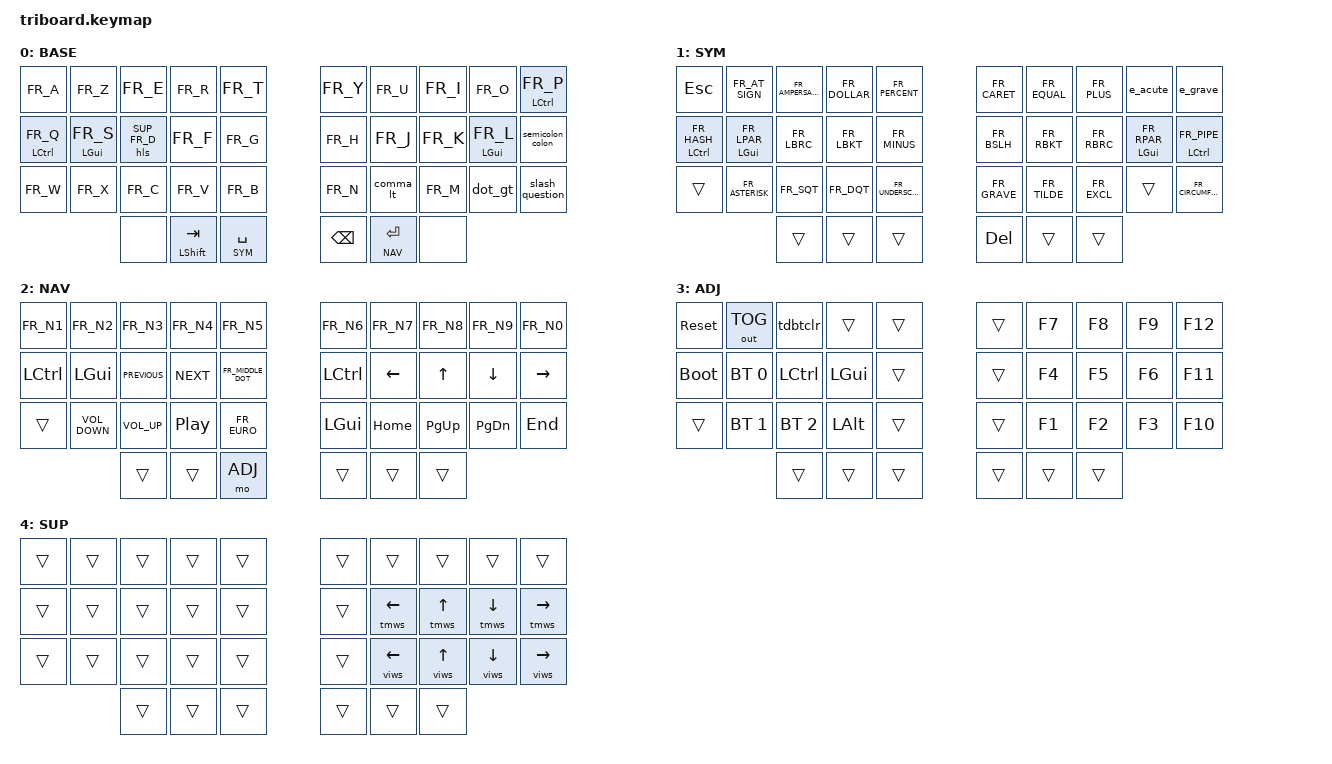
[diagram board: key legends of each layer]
// ⠀⠀⠀⠀⠀⠀⠀⠀⠀⣠⣷⡄⠀⠀⠀⠀⠀⠀⠀⠀
// ⠀⠀⠀⠀⠀⠀⠀⠀⣰⣿⣿⣿⡄⠀⠀⠀⠀⠀⠀⠀
// ⠀⠀⠀⠀⠀⠀⠀⣴⣿⣿⣿⣿⣿⣆⠀⠀⠀⠀⠀⠀
// ⠀⠀⠀⠀⠀⢀⣼⣿⣿⣿⣿⣿⣿⣿⣦⠀⠀⠀⠀⠀
// ⠀⠀⠀⠀⢀⣾⣿⣿⣿⣿⣿⣿⣿⣿⣿⣧⠀⠀⠀⠀
// ⠀⠀⠀⠀⠈⠉⠉⠉⠛⠻⢿⣿⣿⣿⣿⣿⣷⡀⠀⠀
// ⠀⠀⠀⠀⠀⠀⠀⠀⠀⠀⠀⠈⠛⢿⣿⣿⣿⣷⡄⠀
// ⠀⠀⠀⠀⢀⣀⠀⠀⠀⠀⠀⠀⠀⠀⠈⠻⢿⣿⣿⡄
// ⠀⢀⣴⣾⣿⣿⣿⣷⣦⣄⠀⠀⠀⠀⠀⠀⠀⠈⠉⠉
// ⣰⣿⣿⣿⣿⣿⣿⣿⣿⣿⣿⣦⣀⠀⠀⠀⠀⠀⠀⠀

#include <behaviors.dtsi>
#include <dt-bindings/zmk/keys.h>
#include <dt-bindings/zmk/bt.h>
#include <dt-bindings/zmk/outputs.h>
#include "helper.h"
#include "keys_fr.h"

#define BASE 0
#define SYM 1
#define NAV 2
#define ADJ 3
#define SUP 4

/*
                        ┏┓ ┏━┓┏━┓╻┏━╸   ┏━╸┏━┓┏┓╻┏━╸╻┏━╸
                        ┣┻┓┣━┫┗━┓┃┃     ┃  ┃ ┃┃┗┫┣╸ ┃┃╺┓
                        ┗━┛╹ ╹┗━┛╹┗━╸   ┗━╸┗━┛╹ ╹╹  ╹┗━┛
*/

&mt {
  quick-tap-ms = <100>;
  global-quick-tap;
  flavor = "hold-preferred";
  tapping-term-ms = <170>;
};

&lt {
  quick-tap-ms = <100>;
  global-quick-tap;
  flavor = "hold-preferred";
  tapping-term-ms = <170>;
};

/*
                 ┏━╸╻ ╻┏━┓╺┳╸┏━┓┏┳┓   ┏┓ ┏━╸╻ ╻┏━┓╻ ╻╻┏━┓┏━┓┏━┓
                 ┃  ┃ ┃┗━┓ ┃ ┃ ┃┃┃┃   ┣┻┓┣╸ ┣━┫┣━┫┃┏┛┃┃ ┃┣┳┛┗━┓
                 ┗━╸┗━┛┗━┛ ╹ ┗━┛╹ ╹   ┗━┛┗━╸╹ ╹╹ ╹┗┛ ╹┗━┛╹┗╸┗━┛
*/

/* 5 press key to prevent clearing bluetooth bond by accident */
ZMK_BEHAVIOR(tdbtclr, tap_dance,
    tapping-term-ms = <300>;
    bindings = <&none>, <&none>, <&none>, <&none>, <&bt BT_CLR>;
)

// Tmux window switching
ZMK_BEHAVIOR(tmws, macro_one_param,
    bindings =
        <&macro_press &kp LCTRL>,
        <&macro_tap &kp FR_A>,
        <&macro_release &kp LCTRL>,
        <&macro_param_1to1>, <&macro_tap &kp MACRO_PLACEHOLDER>;
)

// Vim window switching
ZMK_BEHAVIOR(viws, macro_one_param,
    bindings =
        <&macro_press &kp LCTRL>,
        <&macro_tap &kp FR_W>,
        <&macro_release &kp LCTRL>,
        <&macro_param_1to1>, <&macro_tap &kp MACRO_PLACEHOLDER>;
)

/*
                    ┏━╸┏━┓┏━╸┏┓╻┏━╸╻ ╻   ╻  ┏━┓╻ ╻┏━┓╻ ╻╺┳╸
                    ┣╸ ┣┳┛┣╸ ┃┗┫┃  ┣━┫   ┃  ┣━┫┗┳┛┃ ┃┃ ┃ ┃
                    ╹  ╹┗╸┗━╸╹ ╹┗━╸╹ ╹   ┗━╸╹ ╹ ╹ ┗━┛┗━┛ ╹
                                    Baguette
*/

// Keep the US keyboard's shift behaviors on the french virtual layout

ZMK_BEHAVIOR(comma_lt, mod_morph,
    mods = <(MOD_LSFT | MOD_RSFT)>;
    bindings = <&kp FR_COMMA>, <&kp FR_LT>;
)
ZMK_BEHAVIOR(dot_gt, mod_morph,
    mods = <(MOD_LSFT | MOD_RSFT)>;
    bindings = <&kp FR_DOT>, <&kp FR_GT>;
)
ZMK_BEHAVIOR(slash_question, mod_morph,
    mods = <(MOD_LSFT | MOD_RSFT)>;
    bindings = <&kp FR_FSLH>, <&kp FR_QUESTION>;
)
ZMK_BEHAVIOR(semicolon_colon, mod_morph,
    mods = <(MOD_LSFT | MOD_RSFT)>;
    bindings = <&kp FR_SEMI>, <&kp FR_COLON>;
)

// Allow capital french letters (ç, é, è, à, ù) to be typed with a single key
// press.
ZMK_BEHAVIOR(capitalized, macro_one_param,
    bindings =
        <&macro_tap &kp CAPSLOCK>, // Press down caps lock
        <&macro_param_1to1>, <&kp MACRO_PLACEHOLDER>, // Press the key
        <&macro_tap &kp CAPSLOCK>; // Release caps lock
)

#define CAPITALIZABLE(name, kc) ZMK_BEHAVIOR(name, tap_dance, \
    tapping-term-ms = <300>; \
    bindings = <&kp kc>, <&capitalized kc>; \
)

CAPITALIZABLE(c_cedilla, FR_C_CEDILLA)
CAPITALIZABLE(e_acute, FR_E_ACUTE)
CAPITALIZABLE(e_grave, FR_E_GRAVE)
CAPITALIZABLE(a_grave, FR_A_GRAVE)
CAPITALIZABLE(u_grave, FR_U_GRAVE)

/*
                      ╻ ╻┏━┓┏┳┓╻┏━┓   ┏┓     ╻ ╻┏┳┓╻  ╻┏━┓
                      ┣━┫┣┳┛┃┃┃ ┗━┓   ┃╺╋╸   ┣━┫┃┃┃┃   ┗━┓
                      ╹ ╹╹┗╸╹ ╹ ┗━┛   ┗━┛    ╹ ╹╹ ╹┗━╸ ┗━┛
                      Home-Row Modifiers & Home-Row Layers

                     Based on Urob's timeless home row mods:
            https://github.com/urob/zmk-config#timeless-homerow-mods
*/

#define KEYS_L 0 1 2 3 4 10 11 12 13 14 20 21 22 23 24
#define KEYS_R 5 6 7 8 9 15 16 17 18 19 25 26 27 28 29
#define KEYS_THUMBS 32 33 34 35 36 37


/* left-hand HRMs */
ZMK_BEHAVIOR(hml, hold_tap,
    flavor = "balanced";
    tapping-term-ms = <280>;
    quick-tap-ms = <175>; // repeat on tap-into-hold
    require-prior-idle-ms = <150>;
    bindings = <&kp>, <&kp>;
    hold-trigger-key-positions = <KEYS_R KEYS_THUMBS>;
    hold-trigger-on-release; // delay positional check until key-release
)

/* right-hand HRMs */
ZMK_BEHAVIOR(hmr, hold_tap,
    flavor = "balanced";
    tapping-term-ms = <280>;
    quick-tap-ms = <175>; // repeat on tap-into-hold
    require-prior-idle-ms = <150>;
    bindings = <&kp>, <&kp>;
    hold-trigger-key-positions = <KEYS_L KEYS_THUMBS>;
    hold-trigger-on-release; // delay positional check until key-release
)

/* left-hand HRLs */
ZMK_BEHAVIOR(hls, hold_tap,
    flavor = "balanced";
    tapping-term-ms = <280>;
    quick-tap-ms = <175>; // repeat on tap-into-hold
    require-prior-idle-ms = <150>;
    bindings = <&mo>, <&kp>;
    hold-trigger-key-positions = <KEYS_R KEYS_THUMBS>;
    hold-trigger-on-release; // delay positional check until key-release
)

/* right-hand HRLs */
ZMK_BEHAVIOR(hls, hold_tap,
    flavor = "balanced";
    tapping-term-ms = <280>;
    quick-tap-ms = <175>; // repeat on tap-into-hold
    require-prior-idle-ms = <150>;
    bindings = <&mo>, <&kp>;
    hold-trigger-key-positions = <KEYS_L KEYS_THUMBS>;
    hold-trigger-on-release; // delay positional check until key-release
)

/*
                               ╻┏ ┏━╸╻ ╻┏┳┓┏━┓┏━┓
                               ┣┻┓┣╸ ┗┳┛┃┃┃┣━┫┣━┛
                               ╹ ╹┗━╸ ╹ ╹ ╹╹ ╹╹
*/

/ {
    keymap {
        compatible = "zmk,keymap";
// ▄▄▄▄▄▄▄▄▄▄▄▄▄▄▄▄▄▄▄▄▄▄▄▄▄▄▄▄▄▄▄▄▄▄▄▄▄▄▄▄▄▄▄▄▄▄▄▄▄▄▄▄▄▄▄▄▄▄▄▄▄▄▄▄▄▄▄▄▄▄▄▄▄▄▄▄▄▄▄▄▄▄▄▄▄▄▄▄▄▄▄▄▄▄▄▄▄▄▄▄▄▄▄▄▄▄▄▄▄▄▄▄▄▄▄▄▄▄▄▄▄▄▄▄▄▄▄▄▄▄▄▄▄▄▄▄▄▄▄▄▄▄▄▄▄▄▄▄▄

        base_layer {
// ┏━━━━━━━━━━━━━━━━━━━━━━━━━━━━━━━━━━━━━━━┓
            label= "BASE";
// ┗━━━━━━━━━━━━━━━━━━━━━━━━━━━━━━━━━━━━━━━┛
// ┏━━━━━━━━━━━┳━━━━━━━━━━━┳━━━━━━━━━━━┳━━━━━━━━━━━┳━━━━━━━━━━━┓   ┏━━━━━━━━━━━┳━━━━━━━━━━━┳━━━━━━━━━━━┳━━━━━━━━━━━┳━━━━━━━━━━━┓
// ┃     Q     ┃     W     ┃     F     ┃     P     ┃     B     ┃   ┃     J     ┃     L     ┃     U     ┃     Y     ┃     ;     ┃
// ┣━━━━━━━━━━━╋━━━━━━━━━━━╋━━━━━━━━━━━╋━━━━━━━━━━━╋━━━━━━━━━━━┫   ┣━━━━━━━━━━━╋━━━━━━━━━━━╋━━━━━━━━━━━╋━━━━━━━━━━━╋━━━━━━━━━━━┫
// ┃     A     ┃     R     ┃     S     ┃     T     ┃     D     ┃   ┃     H     ┃     N     ┃     E     ┃     I     ┃     O     ┃
// ┣━━━━━━━━━━━╋━━━━━━━━━━━╋━━━━━━━━━━━╋━━━━━━━━━━━╋━━━━━━━━━━━┫   ┣━━━━━━━━━━━╋━━━━━━━━━━━╋━━━━━━━━━━━╋━━━━━━━━━━━╋━━━━━━━━━━━┫
// ┃     Z     ┃     X     ┃     C     ┃     G     ┃     V     ┃   ┃     K     ┃     M     ┃     ,     ┃     .     ┃     /     ┃
// ┗━━━━━━━━━━━┻━━━━━━━━━━━╋━━━━━━━━━━━╋━━━━━━━━━━━╋━━━━━━━━━━━┫   ┣━━━━━━━━━━━╋━━━━━━━━━━━╋━━━━━━━━━━━╋━━━━━━━━━━━┻━━━━━━━━━━━┛
//                         ┃           ┃    TAB    ┃    SPC    ┃   ┃    BSPC   ┃    ENT    ┃           ┃
//                         ┗━━━━━━━━━━━┻━━━━━━━━━━━┻━━━━━━━━━━━┛   ┗━━━━━━━━━━━┻━━━━━━━━━━━┻━━━━━━━━━━━┛
             bindings = <
     &kp FR_A        &kp FR_Z       &kp FR_E       &kp FR_R    &kp FR_T        &kp FR_Y    &kp FR_U    &kp FR_I       &kp FR_O       &hmr LCTRL FR_P
     &hml LCTRL FR_Q &hml LGUI FR_S &hls SUP FR_D  &kp FR_F    &kp FR_G        &kp FR_H    &kp FR_J    &kp FR_K       &hmr LGUI FR_L &semicolon_colon
     &kp FR_W        &kp FR_X       &kp FR_C       &kp FR_V    &kp FR_B        &kp FR_N    &comma_lt   &kp FR_M       &dot_gt        &slash_question
                                    &none          &mt LSHFT TAB   &lt SYM SPACE   &kp BSPC    &lt NAV RET &none
                        >;
        };

// ▄▄▄▄▄▄▄▄▄▄▄▄▄▄▄▄▄▄▄▄▄▄▄▄▄▄▄▄▄▄▄▄▄▄▄▄▄▄▄▄▄▄▄▄▄▄▄▄▄▄▄▄▄▄▄▄▄▄▄▄▄▄▄▄▄▄▄▄▄▄▄▄▄▄▄▄▄▄▄▄▄▄▄▄▄▄▄▄▄▄▄▄▄▄▄▄▄▄▄▄▄▄▄▄▄▄▄▄▄▄▄▄▄▄▄▄▄▄▄▄▄▄▄▄▄▄▄▄▄▄▄▄▄▄▄▄▄▄▄▄▄▄▄▄▄▄▄▄▄


        sym_layer {
// ┏━━━━━━━━━━━━━━━━━━━━━━━━━━━━━━━━━━━━━━━┓
            label= "SYM";
// ┗━━━━━━━━━━━━━━━━━━━━━━━━━━━━━━━━━━━━━━━┛
//             ┏━━━━━━━━━━━┳━━━━━━━━━━━┳━━━━━━━━━━━┳━━━━━━━━━━━┳━━━━━━━━━━━┓   ┏━━━━━━━━━━━┳━━━━━━━━━━━┳━━━━━━━━━━━┳━━━━━━━━━━━┳━━━━━━━━━━━┓
//             ┃    ESC    ┃     @     ┃     &     ┃     $     ┃     %     ┃   ┃ ^ (alone) ┃     =     ┃     +     ┃     é     ┃     è     ┃
//             ┣━━━━━━━━━━━╋━━━━━━━━━━━╋━━━━━━━━━━━╋━━━━━━━━━━━╋━━━━━━━━━━━┫   ┣━━━━━━━━━━━╋━━━━━━━━━━━╋━━━━━━━━━━━╋━━━━━━━━━━━╋━━━━━━━━━━━┫
//             ┃     #     ┃     (     ┃     {     ┃     [     ┃     -     ┃   ┃     \     ┃     ]     ┃     }     ┃     )     ┃     |     ┃
//             ┣━━━━━━━━━━━╋━━━━━━━━━━━╋━━━━━━━━━━━╋━━━━━━━━━━━╋━━━━━━━━━━━┫   ┣━━━━━━━━━━━╋━━━━━━━━━━━╋━━━━━━━━━━━╋━━━━━━━━━━━╋━━━━━━━━━━━┫
//             ┃     ç     ┃     *     ┃     '     ┃     "     ┃     _     ┃   ┃     `     ┃     ~     ┃     !     ┃     à     ┃  ^ (dead) ┃
//             ┗━━━━━━━━━━━┻━━━━━━━━━━━╋━━━━━━━━━━━╋━━━━━━━━━━━╋━━━━━━━━━━━┫   ┣━━━━━━━━━━━╋━━━━━━━━━━━╋━━━━━━━━━━━╋━━━━━━━━━━━┻━━━━━━━━━━━┛
//                                     ┃           ┃           ┃           ┃   ┃           ┃           ┃           ┃
//                                     ┗━━━━━━━━━━━┻━━━━━━━━━━━┻━━━━━━━━━━━┛   ┗━━━━━━━━━━━┻━━━━━━━━━━━┻━━━━━━━━━━━┛
             bindings = <
    &kp ESC            &kp FR_AT_SIGN    &kp FR_AMPERSAND &kp FR_DOLLAR &kp FR_PERCENT        &kp FR_CARET &kp FR_EQUAL  &kp FR_PLUS  &e_acute          &e_grave
    &hml LCTRL FR_HASH &hml LGUI FR_LPAR &kp FR_LBRC      &kp FR_LBKT   &kp FR_MINUS          &kp FR_BSLH  &kp FR_RBKT   &kp FR_RBRC  &hml LGUI FR_RPAR &hml LCTRL FR_PIPE
    &trans         &kp FR_ASTERISK   &kp FR_SQT       &kp FR_DQT    &kp FR_UNDERSCORE     &kp FR_GRAVE &kp FR_TILDE  &kp FR_EXCL  &trans          &kp FR_CIRCUMFLEX
                                        &trans           &trans         &trans                &kp DEL      &trans     &trans
                        >;
        };

// ▄▄▄▄▄▄▄▄▄▄▄▄▄▄▄▄▄▄▄▄▄▄▄▄▄▄▄▄▄▄▄▄▄▄▄▄▄▄▄▄▄▄▄▄▄▄▄▄▄▄▄▄▄▄▄▄▄▄▄▄▄▄▄▄▄▄▄▄▄▄▄▄▄▄▄▄▄▄▄▄▄▄▄▄▄▄▄▄▄▄▄▄▄▄▄▄▄▄▄▄▄▄▄▄▄▄▄▄▄▄▄▄▄▄▄▄▄▄▄▄▄▄▄▄▄▄▄▄▄▄▄▄▄▄▄▄▄▄▄▄▄▄▄▄▄▄▄▄▄


        nav_layer {
// ┏━━━━━━━━━━━━━━━━━━━━━━━━━━━━━━━━━━━━━━━┓
            label= "NAV";
// ┗━━━━━━━━━━━━━━━━━━━━━━━━━━━━━━━━━━━━━━━┛
//             ┏━━━━━━━━━━━┳━━━━━━━━━━━┳━━━━━━━━━━━┳━━━━━━━━━━━┳━━━━━━━━━━━┓                          ┏━━━━━━━━━━━┳━━━━━━━━━━━┳━━━━━━━━━━━┳━━━━━━━━━━━┳━━━━━━━━━━━┓
//             ┃     1     ┃     2     ┃     3     ┃     4     ┃     5     ┃                          ┃     6     ┃     7     ┃     8     ┃     9     ┃     0     ┃
//             ┣━━━━━━━━━━━╋━━━━━━━━━━━╋━━━━━━━━━━━╋━━━━━━━━━━━╋━━━━━━━━━━━┫                          ┣━━━━━━━━━━━╋━━━━━━━━━━━╋━━━━━━━━━━━╋━━━━━━━━━━━╋━━━━━━━━━━━┫
//             ┃   CTRL    ┃    GUI    ┃    ◂◂     ┃     ▸▸    ┃     ·     ┃                          ┃   CTRL    ┃     ←     ┃     ↑     ┃     →     ┃     ↓     ┃
//             ┣━━━━━━━━━━━╋━━━━━━━━━━━╋━━━━━━━━━━━╋━━━━━━━━━━━╋━━━━━━━━━━━┫                          ┣━━━━━━━━━━━╋━━━━━━━━━━━╋━━━━━━━━━━━╋━━━━━━━━━━━╋━━━━━━━━━━━┫
//             ┃     ù     ┃          ┃          ┃    ▸▮▮    ┃     €     ┃                          ┃    GUI    ┃     ⇤     ┃    PDN    ┃    PUP    ┃     ⇥     ┃
//             ┗━━━━━━━━━━━┻━━━━━━━━━━━╋━━━━━━━━━━━╋━━━━━━━━━━━╋━━━━━━━━━━━┫                          ┣━━━━━━━━━━━╋━━━━━━━━━━━╋━━━━━━━━━━━╋━━━━━━━━━━━┻━━━━━━━━━━━┛
//                                     ┃           ┃           ┃           ┃                          ┃           ┃           ┃           ┃
//                                     ┗━━━━━━━━━━━┻━━━━━━━━━━━┻━━━━━━━━━━━┛                          ┗━━━━━━━━━━━┻━━━━━━━━━━━┻━━━━━━━━━━━┛
             bindings = <
                &kp FR_N1      &kp FR_N2            &kp FR_N3          &kp FR_N4   &kp FR_N5             &kp FR_N6   &kp FR_N7   &kp FR_N8   &kp FR_N9   &kp FR_N0
                &kp LCTRL      &kp LGUI             &kp C_PREVIOUS     &kp C_NEXT  &kp FR_MIDDLE_DOT     &kp LCTRL   &kp LEFT    &kp UP      &kp DOWN    &kp RIGHT
                &trans       &kp C_VOLUME_DOWN    &kp C_VOLUME_UP    &kp C_PP    &kp FR_EURO           &kp LGUI    &kp HOME    &kp PG_UP   &kp PG_DN   &kp END
                                                    &trans             &trans      &mo ADJ               &trans      &trans      &trans
                        >;
        };

// ▄▄▄▄▄▄▄▄▄▄▄▄▄▄▄▄▄▄▄▄▄▄▄▄▄▄▄▄▄▄▄▄▄▄▄▄▄▄▄▄▄▄▄▄▄▄▄▄▄▄▄▄▄▄▄▄▄▄▄▄▄▄▄▄▄▄▄▄▄▄▄▄▄▄▄▄▄▄▄▄▄▄▄▄▄▄▄▄▄▄▄▄▄▄▄▄▄▄▄▄▄▄▄▄▄▄▄▄▄▄▄▄▄▄▄▄▄▄▄▄▄▄▄▄▄▄▄▄▄▄▄▄▄▄▄▄▄▄▄▄▄▄▄▄▄▄▄▄▄





        adjust_layer {
// ┏━━━━━━━━━━━━━━━━━━━━━━━━━━━━━━━━━━━━━━━┓
            label= "ADJ";
// ┗━━━━━━━━━━━━━━━━━━━━━━━━━━━━━━━━━━━━━━━┛
//             ┏━━━━━━━━━━━┳━━━━━━━━━━━┳━━━━━━━━━━━┳━━━━━━━━━━━┳━━━━━━━━━━━┓   ┏━━━━━━━━━━━┳━━━━━━━━━━━┳━━━━━━━━━━━┳━━━━━━━━━━━┳━━━━━━━━━━━┓
//             ┃   RESET   ┃ OUT TOG   ┃ BT CLEAR  ┃           ┃           ┃   ┃           ┃    F7     ┃    F8     ┃    F9     ┃    F12    ┃
//             ┣━━━━━━━━━━━╋━━━━━━━━━━━╋━━━━━━━━━━━╋━━━━━━━━━━━╋━━━━━━━━━━━┫   ┣━━━━━━━━━━━╋━━━━━━━━━━━╋━━━━━━━━━━━╋━━━━━━━━━━━╋━━━━━━━━━━━┫
//             ┃ BOOTLOAD  ┃ BT 0      ┃ CTRL      ┃ GUI       ┃           ┃   ┃           ┃    F4     ┃    F5     ┃    F6     ┃    F11    ┃
//             ┣━━━━━━━━━━━╋━━━━━━━━━━━╋━━━━━━━━━━━╋━━━━━━━━━━━╋━━━━━━━━━━━┫   ┣━━━━━━━━━━━╋━━━━━━━━━━━╋━━━━━━━━━━━╋━━━━━━━━━━━╋━━━━━━━━━━━┫
//             ┃           ┃ BT 1      ┃ BT 2      ┃ ALT       ┃           ┃   ┃           ┃    F1     ┃    F2     ┃    F3     ┃    F10    ┃
//             ┗━━━━━━━━━━━┻━━━━━━━━━━━╋━━━━━━━━━━━╋━━━━━━━━━━━╋━━━━━━━━━━━┫   ┣━━━━━━━━━━━╋━━━━━━━━━━━╋━━━━━━━━━━━╋━━━━━━━━━━━┻━━━━━━━━━━━┛
//                                     ┃           ┃           ┃           ┃   ┃           ┃           ┃           ┃
//                                     ┗━━━━━━━━━━━┻━━━━━━━━━━━┻━━━━━━━━━━━┛   ┗━━━━━━━━━━━┻━━━━━━━━━━━┻━━━━━━━━━━━┛
             bindings = <

                &sys_reset  &out OUT_TOG  &tdbtclr     &trans      &trans          &trans      &kp F7      &kp F8      &kp F9      &kp F12
                &bootloader &bt BT_SEL 0  &kp LCTRL    &kp LGUI    &trans          &trans      &kp F4      &kp F5      &kp F6      &kp F11  
                &trans      &bt BT_SEL 1  &bt BT_SEL 2 &kp LALT    &trans          &trans      &kp F1      &kp F2      &kp F3      &kp F10 
                                          &trans       &trans      &trans          &trans      &trans      &trans      
                        >;
        };

// ▄▄▄▄▄▄▄▄▄▄▄▄▄▄▄▄▄▄▄▄▄▄▄▄▄▄▄▄▄▄▄▄▄▄▄▄▄▄▄▄▄▄▄▄▄▄▄▄▄▄▄▄▄▄▄▄▄▄▄▄▄▄▄▄▄▄▄▄▄▄▄▄▄▄▄▄▄▄▄▄▄▄▄▄▄▄▄▄▄▄▄▄▄▄▄▄▄▄▄▄▄▄▄▄▄▄▄▄▄▄▄▄▄▄▄▄▄▄▄▄▄▄▄▄▄▄▄▄▄▄▄▄▄▄▄▄▄▄▄▄▄▄▄▄▄▄▄▄▄
        super_layer {

// ┏━━━━━━━━━━━━━━━━━━━━━━━━━━━━━━━━━━━━━━━┓
            label= "SUP";
// ┗━━━━━━━━━━━━━━━━━━━━━━━━━━━━━━━━━━━━━━━┛
//             ┏━━━━━━━━━━━┳━━━━━━━━━━━┳━━━━━━━━━━━┳━━━━━━━━━━━┳━━━━━━━━━━━┓   ┏━━━━━━━━━━━┳━━━━━━━━━━━┳━━━━━━━━━━━┳━━━━━━━━━━━┳━━━━━━━━━━━┓
//             ┃           ┃           ┃           ┃           ┃           ┃   ┃           ┃           ┃           ┃           ┃           ┃
//             ┣━━━━━━━━━━━╋━━━━━━━━━━━╋━━━━━━━━━━━╋━━━━━━━━━━━╋━━━━━━━━━━━┫   ┣━━━━━━━━━━━╋━━━━━━━━━━━╋━━━━━━━━━━━╋━━━━━━━━━━━╋━━━━━━━━━━━┫
//             ┃           ┃           ┃           ┃           ┃           ┃   ┃           ┃   TMUX ←  ┃   TMUX ↑  ┃  TMUX →   ┃   TMUX ↓  ┃
//             ┣━━━━━━━━━━━╋━━━━━━━━━━━╋━━━━━━━━━━━╋━━━━━━━━━━━╋━━━━━━━━━━━┫   ┣━━━━━━━━━━━╋━━━━━━━━━━━╋━━━━━━━━━━━╋━━━━━━━━━━━╋━━━━━━━━━━━┫
//             ┃           ┃           ┃           ┃           ┃           ┃   ┃           ┃   VIM ←   ┃   VIM ↑   ┃  VIM →    ┃   VIM ↓   ┃
//             ┗━━━━━━━━━━━┻━━━━━━━━━━━╋━━━━━━━━━━━╋━━━━━━━━━━━╋━━━━━━━━━━━┫   ┣━━━━━━━━━━━╋━━━━━━━━━━━╋━━━━━━━━━━━╋━━━━━━━━━━━┻━━━━━━━━━━━┛
//                                     ┃           ┃           ┃           ┃   ┃           ┃           ┃           ┃
//                                     ┗━━━━━━━━━━━┻━━━━━━━━━━━┻━━━━━━━━━━━┛   ┗━━━━━━━━━━━┻━━━━━━━━━━━┻━━━━━━━━━━━┛
             bindings = <

                &trans      &trans        &trans       &trans      &trans          &trans      &trans      &trans      &trans      &trans
                &trans      &trans        &trans       &trans      &trans          &trans      &tmws LEFT  &tmws UP    &tmws DOWN  &tmws RIGHT
                &trans      &trans        &trans       &trans      &trans          &trans      &viws LEFT  &viws UP    &viws DOWN  &viws RIGHT
                                          &trans       &trans      &trans          &trans      &trans      &trans      
                        >;
        };
    };
};
